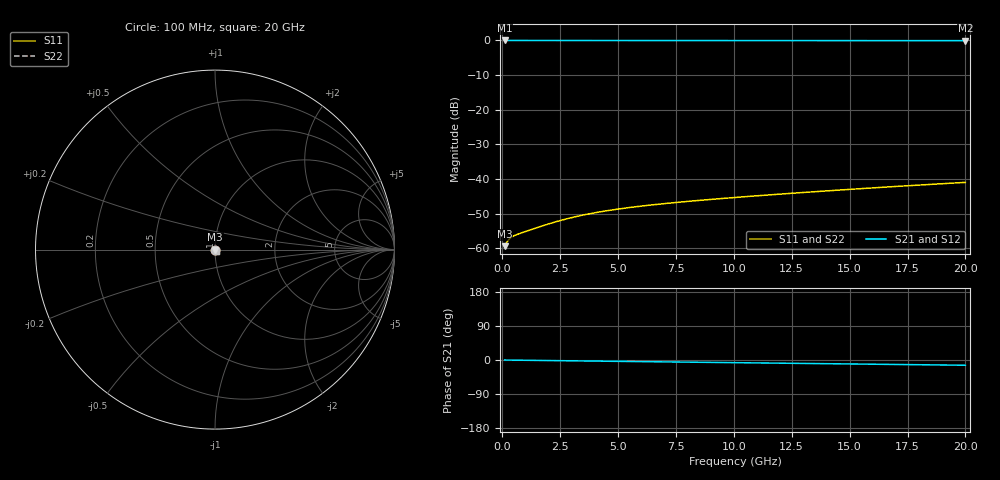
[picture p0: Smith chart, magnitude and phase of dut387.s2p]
! Touchstone file exported from HFSS 2026.1.0
!  File:  C:/ffzhzh/LocalFiles/Ansys_Project_Files/temp_train_TMRDL_387_1783004662_55676.aedt
!  Generated:  11:05:36 PM Jul  2, 2026
!  Design:  TMRDL
!  Project:  temp_train_TMRDL_387_1783004662_55676
! Variables:
!  h_bsmrdl = 2um
!  h_ox = 20um
!  h_rdl = 5um
!  h_sub = 80um
!  h_tmrdl = 5.89um
!  h_tsv = 80um
!  h_via = 3um
!  l_bsmrdl = 300um
!  l_sub = 646.06um
!  l_tmrdl = 246.06um
!  m_sub = 200um
!  pitch = 21.18um
!  r_tsv = 6um
!  s_tmrdl = 10um
!  w_bsmrdl = 18um
!  w_sub = 500um
!  w_tmrdl = 16.55um
!  x_tsv_center1 = 254.335um
!  x_tsv_center2 = 572.335um
!  x_tsv_center3 = 834.945um
!  x_tsv_center4 = 1152.945um
!  x_tsv_center5 = 1415.555um
!  x_tsv_center6 = 1733.555um
# GHz S MA R 50.000000
! Terminal data exported
! Port[1] = TM_RDL1_1_T1
! Port[2] = TM_RDL1_1_T2
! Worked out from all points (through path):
!   200 points, 100 MHz to 20 GHz, reference 50 ohm
!   highest |S21| = -0.01 dB at 100 MHz (marker M1); lowest = -0.1 dB at 20 GHz (marker M2)
!   group delay of S21, straight-line fit = 1.91 ps
!   lowest |S11| = -59.3 dB at 100 MHz (marker M3), VSWR 1.00, Z = 50.1 + j0.0232 ohm
!   |S11| at or under -10 dB: start of sweep to end of sweep
!   |S22| runs from -59.3 to -41.0 dB; largest |S21 - S12| = 5.2e-15
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0.1  0.001078 12.4  0.9989 -0.1  0.9989 -0.1  0.001078 12.4
! Gamma 0 0 0 0
! Port Impedance 50 0 50 0
0.2  0.001241 17.0  0.9988 -0.2  0.9988 -0.2  0.001241 17.0
0.3  0.001367 18.0  0.9987 -0.2  0.9987 -0.2  0.001367 18.0
0.4  0.001455 18.2  0.9986 -0.3  0.9986 -0.3  0.001455 18.2
0.5  0.001519 18.5  0.9986 -0.4  0.9986 -0.4  0.001519 18.5
0.6  0.001571 18.9  0.9985 -0.5  0.9985 -0.5  0.001571 18.9
0.8  0.001663 20.0  0.9984 -0.6  0.9984 -0.6  0.001663 20.0
1.5  0.001994 23.6  0.9982 -1.1  0.9982 -1.1  0.001994 23.6
2.2  0.002364 24.2  0.9979 -1.6  0.9979 -1.6  0.002364 24.2
2.8  0.002683 22.8  0.9976 -2.0  0.9976 -2.0  0.002683 22.8
3.1  0.002838 21.7  0.9974 -2.3  0.9974 -2.3  0.002837 21.7
3.5  0.003036 20.0  0.9972 -2.5  0.9972 -2.5  0.003035 20.0
4.2  0.003361 16.5  0.9968 -3.0  0.9968 -3.0  0.003359 16.5
5  0.003699 12.2  0.9964 -3.6  0.9964 -3.6  0.003696 12.2
5.8  0.004007 7.9  0.9961 -4.1  0.9961 -4.1  0.004004 7.9
6.8  0.004364 2.7  0.9957 -4.8  0.9957 -4.8  0.00436 2.7
8.3  0.004866 -4.5  0.9951 -5.9  0.9951 -5.9  0.00486 -4.5
10.1  0.005452 -12.2  0.9946 -7.1  0.9946 -7.1  0.005443 -12.2
11.7  0.005978 -18.4  0.9941 -8.2  0.9941 -8.2  0.005966 -18.4
13.4  0.006553 -24.3  0.9936 -9.3  0.9936 -9.3  0.006537 -24.4
16.7  0.007726 -34.4  0.9928 -11.6  0.9928 -11.6  0.007701 -34.4
20  0.008969 -42.9  0.9921 -13.8  0.9921 -13.8  0.008936 -43.0
